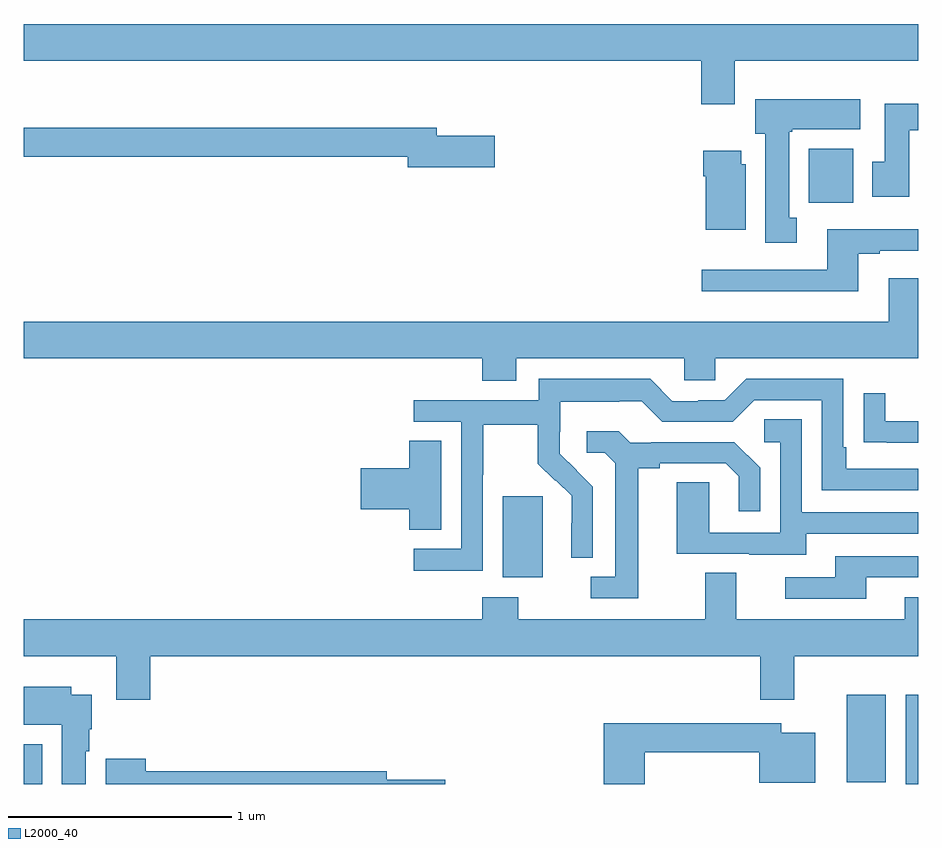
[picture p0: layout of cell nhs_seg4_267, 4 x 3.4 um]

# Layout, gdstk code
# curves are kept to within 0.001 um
import gdstk
lib = gdstk.Library(unit=1e-6, precision=1e-09)
def R(c, l, rs):  # rectangles x0, y0, x1, y1
    for r in rs: c.add(gdstk.rectangle(r[:2], r[2:], *l))
def P(c, l, *ps):  # polygons
    for p in ps: c.add(gdstk.Polygon(p, *l))
L2000_40 = (2000, 40)

nhs_seg4_267 = lib.new_cell('nhs_seg4_267')
R(nhs_seg4_267, L2000_40, [(123,810.9,123.082,811.078), (126.944,810.9,127,811.3), (126.68,810.908,126.856,811.3), (125.141,811.826,125.32,812.187), (126.512,813.5,126.709,813.742)])
P(nhs_seg4_267, L2000_40, [(126.181,814.136),(127,814.136),(127,814.3),(123,814.3),(123,814.136),(126.029,814.136),(126.029,813.942),(126.181,813.942)],
  [(126.457,813.434),(126.424,813.434),(126.424,813.817),(126.438,813.817),(126.438,813.83),(126.742,813.83),(126.742,813.964),(126.272,813.964),(126.272,813.81),(126.317,813.81),(126.317,813.321),(126.457,813.321)],
  [(126.961,813.824),(127,813.824),(127,813.943),(126.851,813.943),(126.851,813.684),(126.794,813.684),(126.794,813.528),(126.961,813.528)],
  [(125.107,813.801),(124.846,813.801),(124.846,813.835),(123,813.835),(123,813.706),(124.718,813.706),(124.718,813.659),(125.107,813.659)],
  [(126.229,813.672),(126.208,813.672),(126.208,813.733),(126.038,813.733),(126.038,813.62),(126.05,813.62),(126.05,813.38),(126.229,813.38)],
  [(126.733,813.273),(126.829,813.273),(126.829,813.285),(127,813.285),(127,813.382),(126.593,813.382),(126.593,813.201),(126.033,813.201),(126.033,813.104),(126.733,813.104)],
  [(125.203,812.804),(125.955,812.804),(125.955,812.706),(126.093,812.706),(126.093,812.804),(127,812.804),(127,813.163),(126.869,813.163),(126.869,812.968),(123,812.968),(123,812.804),(125.051,812.804),(125.051,812.705),(125.203,812.705)],
  [(125.052,812.284),(125.055,812.284),(125.055,812.508),(125.299,812.508),(125.299,812.333),(125.376,812.256),(125.379,812.259),(125.45,812.189),(125.45,812.066),(125.448,812.066),(125.448,811.912),(125.544,811.912),(125.544,812.23),(125.398,812.378),(125.398,812.475),(125.4,812.475),(125.4,812.609),(125.663,812.609),(125.663,812.613),(125.763,812.613),(125.856,812.52),(126.171,812.52),(126.267,812.616),(126.57,812.616),(126.57,812.214),(127,812.214),(127,812.31),(126.679,812.31),(126.679,812.407),(126.666,812.407),(126.666,812.712),(126.231,812.712),(126.135,812.616),(126.017,812.616),(126.017,812.613),(125.901,812.613),(125.801,812.713),(125.304,812.713),(125.304,812.616),(124.743,812.616),(124.743,812.52),(124.956,812.52),(124.956,811.953),(124.743,811.953),(124.743,811.855),(125.052,811.855)],
  [(127,812.523),(126.853,812.523),(126.853,812.647),(126.757,812.647),(126.757,812.428),(126.859,812.428),(126.859,812.427),(127,812.427)],
  [(126.499,812.019),(127,812.019),(127,812.115),(126.48,812.115),(126.48,812.531),(126.312,812.531),(126.312,812.43),(126.384,812.43),(126.384,812.025),(126.066,812.025),(126.066,812.249),(125.921,812.249),(125.921,811.929),(126.245,811.929),(126.245,811.925),(126.499,811.925)],
  [(125.749,812.312),(125.845,812.312),(125.845,812.334),(126.14,812.334),(126.197,812.277),(126.197,812.121),(126.294,812.121),(126.294,812.314),(126.178,812.43),(125.806,812.43),(125.806,812.427),(125.712,812.427),(125.66,812.479),(125.517,812.479),(125.517,812.382),(125.598,812.382),(125.645,812.335),(125.645,811.827),(125.535,811.827),(125.535,811.731),(125.749,811.731)],
  [(124.867,812.435),(124.724,812.435),(124.724,812.312),(124.506,812.312),(124.506,812.129),(124.724,812.129),(124.724,812.038),(124.867,812.038)],
  [(126.769,811.824),(127,811.824),(127,811.92),(126.629,811.92),(126.629,811.824),(126.405,811.824),(126.405,811.728),(126.769,811.728)],
  [(123.566,811.472),(126.293,811.472),(126.293,811.278),(126.445,811.278),(126.445,811.472),(127,811.472),(127,811.735),(126.941,811.735),(126.941,811.636),(126.187,811.636),(126.187,811.844),(126.047,811.844),(126.047,811.636),(125.211,811.636),(125.211,811.735),(125.051,811.735),(125.051,811.636),(123,811.636),(123,811.472),(123.413,811.472),(123.413,811.278),(123.566,811.278)],
  [(123.277,811.046),(123.292,811.046),(123.292,811.146),(123.304,811.146),(123.304,811.3),(123.211,811.3),(123.211,811.336),(123,811.336),(123,811.166),(123.17,811.166),(123.17,810.9),(123.277,810.9)],
  [(125.777,811.042),(126.29,811.042),(126.29,810.905),(126.541,810.905),(126.541,811.129),(126.388,811.129),(126.388,811.171),(125.594,811.171),(125.594,810.9),(125.777,810.9)],
  [(124.885,810.92),(124.624,810.92),(124.624,810.956),(123.544,810.956),(123.544,811.012),(123.365,811.012),(123.365,810.9),(124.885,810.9)])

lib.write_gds('nhs_seg4_267.gds')
